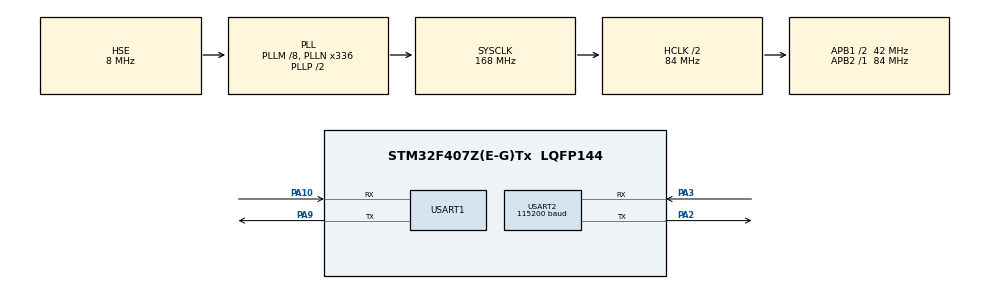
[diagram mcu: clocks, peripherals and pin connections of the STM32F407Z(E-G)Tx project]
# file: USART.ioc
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Mcu.Family=STM32F4
Mcu.Name=STM32F407Z(E-G)Tx
Mcu.Package=LQFP144
NVIC.PriorityGroup=NVIC_PRIORITYGROUP_2
NVIC.USART2_IRQn=true\:1\:1\:true\:false\:true\:true\:true
PA10.Mode=Asynchronous
PA10.Signal=USART1_RX
PA2.Mode=Asynchronous
PA2.Signal=USART2_TX
PA3.Mode=Asynchronous
PA3.Signal=USART2_RX
PA9.Mode=Asynchronous
PA9.Signal=USART1_TX
PH0-OSC_IN.Mode=HSE-External-Oscillator
PH0-OSC_IN.Signal=RCC_OSC_IN
PH1-OSC_OUT.Mode=HSE-External-Oscillator
PH1-OSC_OUT.Signal=RCC_OSC_OUT
ProjectManager.HeapSize=0x200
ProjectManager.StackSize=0x400
ProjectManager.TargetToolchain=MDK-ARM V5.27
RCC.48MHZClocksFreq_Value=84000000
RCC.AHBCLKDivider=RCC_SYSCLK_DIV2
RCC.AHBFreq_Value=84000000
RCC.APB1CLKDivider=RCC_HCLK_DIV2
RCC.APB1Freq_Value=42000000
RCC.APB1TimFreq_Value=84000000
RCC.APB2Freq_Value=84000000
RCC.APB2TimFreq_Value=84000000
RCC.CortexFreq_Value=84000000
RCC.HCLKFreq_Value=84000000
RCC.HSE_VALUE=8000000
RCC.HSI_VALUE=16000000
RCC.LSE_VALUE=32768
RCC.PLLM=8
RCC.PLLN=336
RCC.PLLSourceVirtual=RCC_PLLSOURCE_HSE
RCC.SYSCLKFreq_VALUE=168000000
RCC.SYSCLKSource=RCC_SYSCLKSOURCE_PLLCLK
RCC.VCOOutputFreq_Value=336000000
USART1.VirtualMode=VM_ASYNC
USART2.BaudRate=115200
USART2.VirtualMode=VM_ASYNC
board=custom

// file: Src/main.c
/* USER CODE BEGIN Header */
/**
  ******************************************************************************
  * @file           : main.c
  * @brief          : Main program body
  ******************************************************************************
  * @attention
  *
  * <h2><center>&copy; Copyright (c) 2020 STMicroelectronics.
  * All rights reserved.</center></h2>
  *
  * This software component is licensed by ST under BSD 3-Clause license,
  * the "License"; You may not use this file except in compliance with the
  * License. You may obtain a copy of the License at:
  *                        opensource.org/licenses/BSD-3-Clause
  *
  ******************************************************************************
  */
/* USER CODE END Header */

#include "main.h"
#include "usart.h"
#include "gpio.h"
#include "string.h"

/* USER CODE BEGIN Includes */
uint8_t my_re_buf2;
uint8_t aRxBuffer;			//接收中断缓冲
//char RST_Start[]="AT+RST\r\n";
//char MODE_Start[]="AT+CWMODE=1\r\n";
//char WIFI_Start[]="AT+CWJAP=\"HUAWEI-3AHFVD\",\"13550695909\"\r\n";
//char Connected_Start[]="AT+CIPMUX=0\r\n";
//char TCP_Start[]="AT+CIPSTART=\"TCP\",\"183.230.40.33\",80\r\n";
//char TX_Start[]="AT+CIPMODE=1\r\n";
//char Data[]="AT+CIPSEND\r\n";
//char TX_Data[]="POST /devices/610177377/datapoints HTTP/1.1\r\napi-key:Nhw=N=8b0eElqPR0k2Ultdyh0tA=\r\nHost:api.heclouds.com\r\nContent-Length:63\r\n\r\n{\"datastreams\":[{\"id\":\"sys_time\",\"datapoints\":[{\"value\":50}]}]}";

#define AT          "AT\r\n"
#define CWMODE      "AT+CWMODE=1\r\n"		//STA+AP模式
#define RST         "AT+RST\r\n"
#define CIFSR       "AT+CIFSR\r\n"
#define CWJAP       "AT+CWJAP=\"HUAWEI-3AHFVD\",\"13550695909\"\r\n"	//
//#define CIPSTART    "AT+CIPSTART=\"TCP\",\"183.230.40.39\",876\r\n"	//EDP服务器 183.230.40.39/876
#define CIPSTART    "AT+CIPSTART=\"TCP\",\"183.230.40.33\",80\r\n"		//HTTP服务器183.230.40.33/80
#define CIPMODE0    "AT+CIPMODE=0\r\n"		//非透传模式
#define CIPMODE1    "AT+CIPMODE=1\r\n"		//透传模式
#define CIPSEND     "AT+CIPSEND\r\n"
#define CIPSTATUS   "AT+CIPSTATUS\r\n"		//网络状态查询

/* USER CODE END Includes */

void SystemClock_Config(void);
/* USER CODE BEGIN PFP */
#define MAX_RCV_LEN  500
#define API_KEY     "Nhw=N=8b0eElqPR0k2Ultdyh0tA="		//需要定义为用户自己的参数
#define DEV_ID      "610177377"							          //需要定义为用户自己的参数
unsigned char  usart2_rcv_buf[MAX_RCV_LEN];
char count;
/*
*  @brief USART2串口接收状态初始化
*/
void USART2_Clear(void)
{

		memset(usart2_rcv_buf, 0, sizeof(usart2_rcv_buf));
    count=0;
}

/*
*  @brief USART2串口发送api
*/
void USART2_Write(USART_TypeDef* USARTx, uint8_t *Data, uint8_t len)
{
	HAL_UART_Transmit(&huart2, Data, len,0xff);
  while(HAL_UART_GetState(&huart2) == HAL_UART_STATE_BUSY_TX);//检测UART发送结束
}

/*
 *  @brief USART2串口发送AT命令用
 *  @para  cmd  AT命令
 *  @para  result 预期的正确返回信息
 *  @para  timeOut延时时间,ms
 */
void SendCmd(char* cmd, char* result, int timeOut)
{
    while(1)
    {
        USART2_Clear();
        USART2_Write(USART2, (unsigned char *)cmd, strlen((const char *)cmd));
        HAL_Delay(timeOut);
        printf("%s %d cmd:%s,rsp:%s\n", __func__, __LINE__, cmd, usart2_rcv_buf);
        if((NULL != strstr((const char *)usart2_rcv_buf, result)))	//判断是否有预期的结果
        {
						USART2_Clear();
            break;
        }
        else
        {
						USART2_Clear();
            HAL_Delay(100);
        }
    }
}

/*
 *  @brief ESP8266模块初始化
 */
void ESP8266_Init(void)
{
    SendCmd(AT, "OK", 1000);		//模块有效性检查
    SendCmd(CWMODE, "OK", 2000);	//模块工作模式
    SendCmd(RST, "", 2000);		//模块重置
    SendCmd(CIFSR, "OK", 1000);		//查询网络信息
    SendCmd(CWJAP, "OK", 2000);		//配置需要连接的WIFI热点SSID和密码
    SendCmd(CIPSTART, "OK", 2000);	//TCP连接
    SendCmd(CIPMODE1, "OK", 1000);	//配置透传模式
		SendCmd(CIPSEND, ">", 1000);	//进入透传模式
		USART2_Clear();

}

/* USER CODE END PFP */

/* USER CODE BEGIN 0 */
/**
  * @brief   组HTTP POST报文
  * @param   pkt   报文缓存指针
  * @param   key   API_KEY定义在Main.c文件中，需要根据自己的设备修改
  *	@param 	 devid 设备ID，定义在main.c文件中，需要根据自己的设备修改
  *	@param 	 dsid  数据流ID
  *	@param 	 val   字符串形式的数据点的值
  * @retval  整个包的长度
  */
uint32_t HTTP_PostPkt(char *pkt, char *key, char *devid, char *dsid, char *val)
{
    char dataBuf[100] = {0};
    char lenBuf[10] = {0};
    *pkt = 0;

    sprintf(dataBuf, ",;%s,%s", dsid, val);     //采用分割字符串格式:type = 5
    sprintf(lenBuf, "%d", strlen(dataBuf));

    strcat(pkt, "POST /devices/");
    strcat(pkt, devid);
    strcat(pkt, "/datapoints?type=5 HTTP/1.1\r\n");

    strcat(pkt, "api-key:");
    strcat(pkt, key);
    strcat(pkt, "\r\n");

    strcat(pkt, "Host:api.heclouds.com\r\n");

    strcat(pkt, "Content-Length:");
    strcat(pkt, lenBuf);
    strcat(pkt, "\r\n\r\n");

    strcat(pkt, dataBuf);

    return strlen(pkt);
}
/* USER CODE END 0 */

int main(void)
{
  /* USER CODE BEGIN 1 */
	char HTTP_Buf[400];     //HTTP报文缓存区
	char tempStr[]="30";       //字符串格式温度
	int len;
  /* USER CODE END 1 */

  /* MCU Configuration--------------------------------------------------------*/

  /* Reset of all peripherals, Initializes the Flash interface and the Systick. */
  HAL_Init();

  /* Configure the system clock */
  SystemClock_Config();

  /* Initialize all configured peripherals */
  MX_GPIO_Init();
  MX_USART1_UART_Init();
  MX_USART2_UART_Init();
  /* USER CODE BEGIN 2 */

	HAL_UART_Receive_IT(&huart2, (uint8_t *)&aRxBuffer, 1);
	USART2_Clear();
	ESP8266_Init();
	HAL_Delay(1000);

  /* USER CODE END 2 */

  /* Infinite loop */
  while (1)
  {

		len = HTTP_PostPkt(HTTP_Buf, API_KEY, DEV_ID, "temp", tempStr); //HTTP组包;
		USART2_Write(USART2, (unsigned char *)(HTTP_Buf), len);			//报文发送
		printf("send HTTP msg:\r\n%s\r\n", HTTP_Buf);
		USART2_Clear();
		HAL_Delay(5000);
  }
}

void SystemClock_Config(void)
{
  RCC_OscInitTypeDef RCC_OscInitStruct = {0};
  RCC_ClkInitTypeDef RCC_ClkInitStruct = {0};

  /** Configure the main internal regulator output voltage
  */
  __HAL_RCC_PWR_CLK_ENABLE();
  __HAL_PWR_VOLTAGESCALING_CONFIG(PWR_REGULATOR_VOLTAGE_SCALE1);
  /** Initializes the CPU, AHB and APB busses clocks
  */
  RCC_OscInitStruct.OscillatorType = RCC_OSCILLATORTYPE_HSE;
  RCC_OscInitStruct.HSEState = RCC_HSE_ON;
  RCC_OscInitStruct.PLL.PLLState = RCC_PLL_ON;
  RCC_OscInitStruct.PLL.PLLSource = RCC_PLLSOURCE_HSE;
  RCC_OscInitStruct.PLL.PLLM = 8;
  RCC_OscInitStruct.PLL.PLLN = 336;
  RCC_OscInitStruct.PLL.PLLP = RCC_PLLP_DIV2;
  RCC_OscInitStruct.PLL.PLLQ = 4;
  if (HAL_RCC_OscConfig(&RCC_OscInitStruct) != HAL_OK)
  {
    Error_Handler();
  }
  /** Initializes the CPU, AHB and APB busses clocks
  */
  RCC_ClkInitStruct.ClockType = RCC_CLOCKTYPE_HCLK|RCC_CLOCKTYPE_SYSCLK
                              |RCC_CLOCKTYPE_PCLK1|RCC_CLOCKTYPE_PCLK2;
  RCC_ClkInitStruct.SYSCLKSource = RCC_SYSCLKSOURCE_PLLCLK;
  RCC_ClkInitStruct.AHBCLKDivider = RCC_SYSCLK_DIV2;
  RCC_ClkInitStruct.APB1CLKDivider = RCC_HCLK_DIV2;
  RCC_ClkInitStruct.APB2CLKDivider = RCC_HCLK_DIV1;

  if (HAL_RCC_ClockConfig(&RCC_ClkInitStruct, FLASH_LATENCY_2) != HAL_OK)
  {
    Error_Handler();
  }
}

/* USER CODE BEGIN 4 */
void HAL_UART_RxCpltCallback(UART_HandleTypeDef *huart)
{

	UNUSED(huart);
	if(huart==&huart2)
	{
//		my_re_buf2 = aRxBuffer;
		usart2_rcv_buf[count++]=aRxBuffer;
//		HAL_UART_Transmit(&huart1, (uint8_t *)&my_re_buf2, 1,0xff);
//		while(HAL_UART_GetState(&huart1) == HAL_UART_STATE_BUSY_TX);//检测UART发送结束

		HAL_UART_Receive_IT(&huart2, (uint8_t *)&aRxBuffer, 1);
	}
}

/* USER CODE END 4 */

void Error_Handler(void)
{
}

/************************ (C) COPYRIGHT STMicroelectronics *****END OF FILE****/
